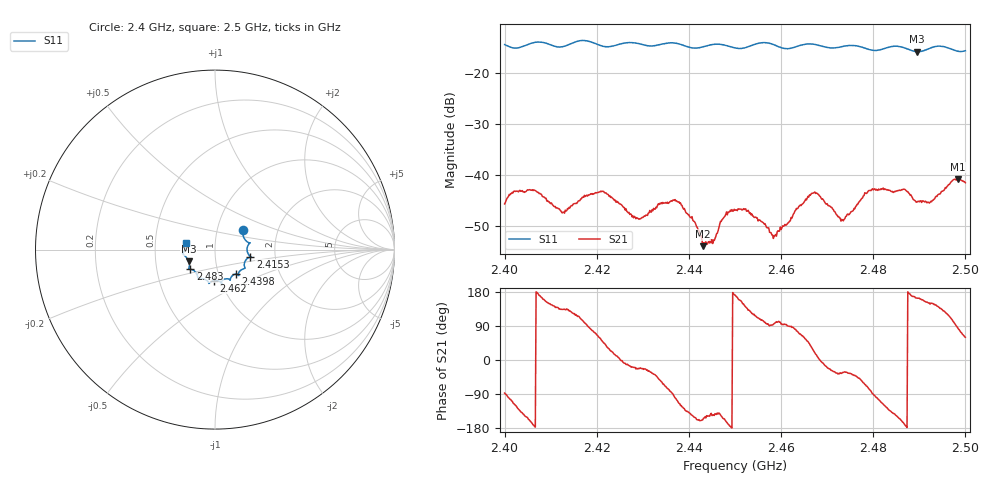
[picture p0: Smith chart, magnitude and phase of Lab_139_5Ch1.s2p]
# Hz S RI R 50
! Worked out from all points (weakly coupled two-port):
!   601 points, 2.4 GHz to 2.5 GHz, reference 50 ohm
!   highest |S21| = -40.83 dB at 2.4983 GHz (marker M1); lowest = -54.0 dB at 2.443 GHz (marker M2)
!   lowest |S11| = -15.9 dB at 2.4895 GHz (marker M3), VSWR 1.38, Z = 37 - j5 ohm
!   |S11| at or under -10 dB: start of sweep to end of sweep
!   S12 and S22 are empty: the file has one direction only
!   S11 on the Smith chart (normalised r, x): 2.4 GHz: 1.33, +0.29; 2.4153 GHz: 1.48, -0.12; 2.4398 GHz: 1.21, -0.34; 2.462 GHz: 0.93, -0.33; 2.483 GHz: 0.74, -0.17; 2.5 GHz: 0.72, +0.06
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2.4e9  0.1552 0.1068  0.000236 -0.00515  0 0  0 0
2.4055e9  0.1884 0.0384  -0.0067 -0.0024  0 0  0 0
2.4125e9  0.1792 -0.00737  -0.0029 0.00305  0 0  0 0
2.415333e9  0.1963 -0.0386  -0.00247 0.00457  0 0  0 0
2.416667e9  0.2023 -0.0427  -0.00167 0.00553  0 0  0 0
2.4215e9  0.1712 -0.0586  0.00483 0.00484  0 0  0 0
2.429e9  0.1618 -0.1058  0.00341 -0.00144  0 0  0 0
2.433333e9  0.1309 -0.1337  0.00343 -0.00386  0 0  0 0
2.437e9  0.1322 -0.1437  -0.001 -0.00561  0 0  0 0
2.439833e9  0.1154 -0.1364  -0.00297 -0.00274  0 0  0 0
2.443e9  0.0891 -0.1551  -0.00184 -0.000742  0 0  0 0
2.45e9  0.0648 -0.1625  -0.00442 0.000658  0 0  0 0
2.4585e9  0.0344 -0.1843  -0.000255 0.00252  0 0  0 0
2.462e9  -0.00502 -0.173  0.000113 0.00351  0 0  0 0
2.466667e9  -0.0343 -0.188  0.00554 0.00353  0 0  0 0
2.473333e9  -0.0828 -0.1603  0.00302 -0.00195  0 0  0 0
2.478667e9  -0.1014 -0.1376  0.00229 -0.0062  0 0  0 0
2.483e9  -0.1375 -0.1095  -0.00415 -0.00571  0 0  0 0
2.483333e9  -0.1401 -0.1093  -0.00461 -0.00529  0 0  0 0
2.4895e9  -0.1461 -0.0659  -0.00515 0.00153  0 0  0 0
2.498333e9  -0.162 0.0104  0.000808 0.00905  0 0  0 0
2.5e9  -0.1595 0.0391  0.00416 0.0072  0 0  0 0
